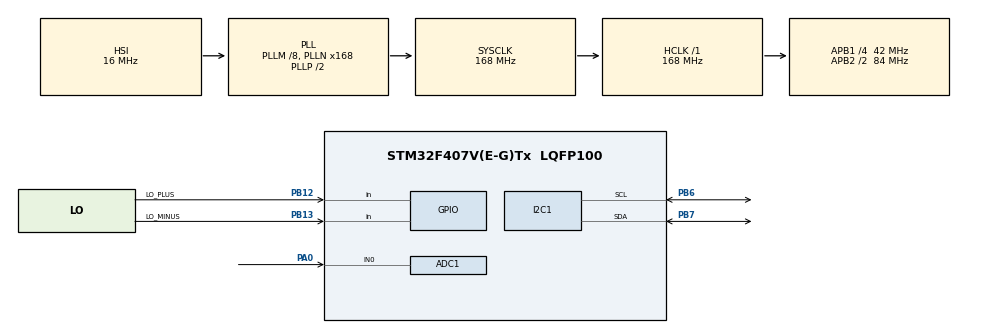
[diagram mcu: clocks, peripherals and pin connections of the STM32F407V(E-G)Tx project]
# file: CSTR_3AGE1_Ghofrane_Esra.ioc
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ADC1.Channel-0\#ChannelRegularConversion=ADC_CHANNEL_0
ADC1.ContinuousConvMode=ENABLE
ADC1.DMAContinuousRequests=ENABLE
ADC1.NbrOfConversionFlag=1
ADC1.Rank-0\#ChannelRegularConversion=1
ADC1.SamplingTime-0\#ChannelRegularConversion=ADC_SAMPLETIME_3CYCLES
ADC1.master=1
Dma.ADC1.0.Direction=DMA_PERIPH_TO_MEMORY
Dma.ADC1.0.FIFOMode=DMA_FIFOMODE_DISABLE
Dma.ADC1.0.Instance=DMA2_Stream0
Dma.ADC1.0.MemDataAlignment=DMA_MDATAALIGN_HALFWORD
Dma.ADC1.0.MemInc=DMA_MINC_ENABLE
Dma.ADC1.0.Mode=DMA_CIRCULAR
Dma.ADC1.0.PeriphDataAlignment=DMA_PDATAALIGN_HALFWORD
Dma.ADC1.0.PeriphInc=DMA_PINC_DISABLE
Dma.ADC1.0.Priority=DMA_PRIORITY_HIGH
Dma.Request0=ADC1
FREERTOS.Tasks01=defaultTask,24,128,StartDefaultTask,Default,NULL,Dynamic,NULL,NULL
I2C1.I2C_Mode=I2C_Standard
Mcu.Family=STM32F4
Mcu.Name=STM32F407V(E-G)Tx
Mcu.Package=LQFP100
NVIC.DMA2_Stream0_IRQn=true\:5\:0\:false\:false\:true\:true\:false\:true\:true
NVIC.PriorityGroup=NVIC_PRIORITYGROUP_4
PA0-WKUP.Signal=ADCx_IN0
PA13.Mode=Serial_Wire
PA13.Signal=SYS_JTMS-SWDIO
PA14.Mode=Serial_Wire
PA14.Signal=SYS_JTCK-SWCLK
PB12.GPIO_Label=LO_PLUS
PB12.GPIO_PuPd=GPIO_PULLUP
PB12.Signal=GPIO_Input
PB13.GPIO_Label=LO_MINUS
PB13.GPIO_PuPd=GPIO_PULLUP
PB13.Signal=GPIO_Input
PB6.Mode=I2C
PB6.Signal=I2C1_SCL
PB7.Mode=I2C
PB7.Signal=I2C1_SDA
PC14-OSC32_IN.Mode=LSE-External-Oscillator
PC14-OSC32_IN.Signal=RCC_OSC32_IN
PC15-OSC32_OUT.Mode=LSE-External-Oscillator
PC15-OSC32_OUT.Signal=RCC_OSC32_OUT
ProjectManager.HeapSize=0x200
ProjectManager.StackSize=0x400
ProjectManager.TargetToolchain=STM32CubeIDE
RCC.48MHZClocksFreq_Value=48000000
RCC.AHBFreq_Value=168000000
RCC.APB1CLKDivider=RCC_HCLK_DIV4
RCC.APB1Freq_Value=42000000
RCC.APB1TimFreq_Value=84000000
RCC.APB2CLKDivider=RCC_HCLK_DIV2
RCC.APB2Freq_Value=84000000
RCC.APB2TimFreq_Value=168000000
RCC.CortexFreq_Value=168000000
RCC.HCLKFreq_Value=168000000
RCC.HSE_VALUE=8000000
RCC.HSI_VALUE=16000000
RCC.PLLM=8
RCC.PLLN=168
RCC.PLLQ=7
RCC.SYSCLKFreq_VALUE=168000000
RCC.SYSCLKSource=RCC_SYSCLKSOURCE_PLLCLK
RCC.VCOOutputFreq_Value=336000000
SH.ADCx_IN0.0=ADC1_IN0,IN0
VP_FREERTOS_VS_CMSIS_V2.Mode=CMSIS_V2
board=STM32F407G-DISC1

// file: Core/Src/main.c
/* USER CODE BEGIN Header */
/**
  ******************************************************************************
  * @file           : main.c
  * @brief          : Main program body
  ******************************************************************************
  * @attention
  *
  * Copyright (c) 2026 STMicroelectronics.
  * All rights reserved.
  *
  * This software is licensed under terms that can be found in the LICENSE file
  * in the root directory of this software component.
  * If no LICENSE file comes with this software, it is provided AS-IS.
  *
  ******************************************************************************
  */
/* USER CODE END Header */
#include "main.h"
#include "cmsis_os.h"

/* USER CODE BEGIN Includes */
#include "ssd1306.h"
#include "ssd1306_fonts.h"
#include <math.h>
#include <stdio.h>
#include <string.h>
#include <stdlib.h>
/* USER CODE END Includes */

/* USER CODE BEGIN PD */
#define SCREEN_WIDTH 128
#define SCREEN_HEIGHT 64
#define ECG_BASELINE 38
#define WAVEFORM_TOP 14
#define WAVEFORM_BOTTOM 62
#define ADC_BUFFER_SIZE 1
#define FILTER_SIZE 5
#define SAMPLE_RATE 200
#define PEAK_THRESHOLD_BASE 200
#define ADAPTIVE_THRESHOLD_FACTOR 0.65f  // 65% of signal range
#define MIN_RR_INTERVAL 300  // 200 BPM max
#define MAX_RR_INTERVAL 2000  // 30 BPM min
#define REFRACTORY_PERIOD 200  // 200ms refractory period (prevents double counting)

// High-pass filter parameters_DC blocking at 0.5 Hz
#define HPF_ALPHA 0.995f
#define EMA_ALPHA 0.98f
#define STABILIZATION_SAMPLES 600  // 3 seconds @ 200Hz

#define HR_AVERAGE_SIZE 5
/* USER CODE END PD */

ADC_HandleTypeDef hadc1;
DMA_HandleTypeDef hdma_adc1;

I2C_HandleTypeDef hi2c1;

/* Definitions for defaultTask */
osThreadId_t defaultTaskHandle;
const osThreadAttr_t defaultTask_attributes = {
  .name = "defaultTask",
  .stack_size = 128 * 4,
  .priority = (osPriority_t) osPriorityNormal,
};
/* USER CODE BEGIN PV */

// Heart bitmap - 16x16 pixels
const unsigned char heart_icon_16x16[] = {
  0x00, 0x00, 0x1C, 0x70, 0x3E, 0xF8, 0x7F, 0xFC,
  0xFF, 0xFE, 0xFF, 0xFE, 0xFF, 0xFE, 0x7F, 0xFC,
  0x7F, 0xFC, 0x3F, 0xF8, 0x1F, 0xF0, 0x0F, 0xE0,
  0x07, 0xC0, 0x03, 0x80, 0x01, 0x00, 0x00, 0x00
};

// Small heart bitmap - 8x8 pixels (for beat indicator)
const unsigned char heart_small_8x8[] = {
  0x00, 0x66, 0xFF, 0xFF, 0xFF, 0x7E, 0x3C, 0x18
};

// Large heart for animation - 24x24 pixels
const unsigned char heart_large_24x24[] = {
  0x00, 0x00, 0x00, 0x07, 0x0E, 0x00, 0x0F, 0x9F, 0x00, 0x1F, 0xFF, 0x80,
  0x3F, 0xFF, 0xC0, 0x7F, 0xFF, 0xE0, 0xFF, 0xFF, 0xF0, 0xFF, 0xFF, 0xF0,
  0xFF, 0xFF, 0xF0, 0xFF, 0xFF, 0xF0, 0xFF, 0xFF, 0xF0, 0x7F, 0xFF, 0xE0,
  0x7F, 0xFF, 0xE0, 0x3F, 0xFF, 0xC0, 0x1F, 0xFF, 0x80, 0x0F, 0xFF, 0x00,
  0x07, 0xFE, 0x00, 0x03, 0xFC, 0x00, 0x01, 0xF8, 0x00, 0x00, 0xF0, 0x00,
  0x00, 0x60, 0x00, 0x00, 0x00, 0x00, 0x00, 0x00, 0x00, 0x00, 0x00, 0x00
};

typedef struct {
    uint16_t adc_value;
    uint32_t timestamp;
} ADC_Data_t;

typedef enum {
    HR_NORMAL,
    HR_BRADYCARDIA,
    HR_TACHYCARDIA
} HR_Status_t;

typedef struct {
    int16_t waveform[128];
    uint8_t buffer_index;
    uint32_t heart_rate;
    uint8_t lead_off;
    uint8_t signal_quality;
    uint16_t raw_adc;
    float hrv_sdnn;
    uint8_t is_stable;
} ECG_Data_t;

ECG_Data_t ecg_data = {0};
HR_Status_t AnalyzeHeartRate(uint32_t hr);

osThreadId_t ADC_TaskHandle;
osThreadId_t Process_TaskHandle;
osThreadId_t Display_TaskHandle;
osThreadId_t Monitor_TaskHandle;

osMessageQueueId_t ADC_QueueHandle;
osMutexId_t ECG_Data_MutexHandle;
osSemaphoreId_t Display_SemaphoreHandle;

uint16_t adc_dma_buffer[4];
uint16_t filter_buffer[FILTER_SIZE] = {2048, 2048, 2048, 2048, 2048};
uint8_t filter_index = 0;
uint32_t last_peak_time = 0;
uint32_t rr_intervals[10] = {0};
uint8_t rr_index = 0;
uint8_t peak_detected = 0;
uint16_t prev_filtered = 2048;
uint8_t above_threshold = 0;
uint8_t lead_off_detected = 0;

float hpf_prev_input = 2048.0f;
float hpf_prev_output = 0.0f;

float ema_baseline = 2048.0f;

volatile uint32_t stabilization_counter = STABILIZATION_SAMPLES;
volatile uint8_t system_stable = 1;

float signal_min = 4096.0f;
float signal_max = 0.0f;
uint16_t adaptive_samples = 0;
#define ADAPTIVE_WINDOW 100

uint32_t hr_history[HR_AVERAGE_SIZE] = {0};
uint8_t hr_history_index = 0;
uint8_t hr_history_count = 0;

uint32_t last_valid_peak_time = 0;
float peak_value_threshold = 0.0f;

/* USER CODE END PV */

void SystemClock_Config(void);
static void MX_GPIO_Init(void);
static void MX_DMA_Init(void);
static void MX_I2C1_Init(void);
static void MX_ADC1_Init(void);
void StartDefaultTask(void *argument);

/* USER CODE BEGIN PFP */
void ADC_Task(void *argument);
void Process_Task(void *argument);
void Display_Task(void *argument);
void Monitor_Task(void *argument);

uint16_t MedianFilter(uint16_t new_value);
float HighPassFilter(uint16_t input);
void CalculateHeartRate(float filtered_val, uint32_t timestamp);
float CalculateHRV(void);
uint8_t CheckLeadOff(void);
uint8_t AssessSignalQuality(void);
uint32_t GetAveragedHeartRate(void);
/* USER CODE END PFP */

int main(void)
{

  /* MCU Configuration--------------------------------------------------------*/

  /* Reset of all peripherals, Initializes the Flash interface and the Systick. */
  HAL_Init();

  /* Configure the system clock */
  SystemClock_Config();

  /* Initialize all configured peripherals */
  MX_GPIO_Init();
  MX_DMA_Init();
  MX_I2C1_Init();
  MX_ADC1_Init();
  /* USER CODE BEGIN 2 */
  ssd1306_Init();
  HAL_Delay(100);

  for(int beat = 0; beat < 2; beat++) {
    ssd1306_Fill(Black);

    if(beat % 2 == 0) {

      ssd1306_DrawBitmap(52, 20, heart_large_24x24, 24, 24, White);
    } else {

      ssd1306_DrawBitmap(51, 19, heart_large_24x24, 24, 24, White);
      ssd1306_DrawBitmap(52, 20, heart_large_24x24, 24, 24, White);
    }

    ssd1306_UpdateScreen();
    HAL_Delay(300);
  }

  HAL_Delay(400);

  ssd1306_Fill(Black);

  ssd1306_DrawBitmap(7, 5, heart_icon_16x16, 16, 16, White);

  ssd1306_SetCursor(32, 5);
  ssd1306_WriteString("ECG", Font_11x18, White);
  ssd1306_SetCursor(8, 24);
  ssd1306_WriteString("MONITOR", Font_11x18, White);

  for(int x = 0; x < 128; x += 2) {
    ssd1306_DrawPixel(x, 44, White);
  }

  ssd1306_SetCursor(4, 48);
  ssd1306_WriteString("Ghofrane & Esra", Font_7x10, White);

  ssd1306_UpdateScreen();
  HAL_Delay(2500);

  // Clear screen before starting signal display
  ssd1306_Fill(Black);
  ssd1306_UpdateScreen();

  for(int i = 0; i < 128; i++) {
     ecg_data.waveform[i] = ECG_BASELINE;
  }
  /* USER CODE END 2 */

  /* Init scheduler */
  osKernelInitialize();

  /* USER CODE BEGIN RTOS_MUTEX */
  ECG_Data_MutexHandle = osMutexNew(NULL);
  /* USER CODE END RTOS_MUTEX */

  /* USER CODE BEGIN RTOS_SEMAPHORES */
  Display_SemaphoreHandle = osSemaphoreNew(1, 0, NULL);
  /* USER CODE END RTOS_SEMAPHORES */

  /* USER CODE BEGIN RTOS_QUEUES */
  ADC_QueueHandle = osMessageQueueNew(100, sizeof(ADC_Data_t), NULL);
  /* USER CODE END RTOS_QUEUES */

  /* Create the thread(s) */
  /* creation of defaultTask */
  defaultTaskHandle = osThreadNew(StartDefaultTask, NULL, &defaultTask_attributes);

  /* USER CODE BEGIN RTOS_THREADS */
  const osThreadAttr_t ADC_Task_attr = {.name = "ADC_Task", .stack_size = 256 * 4, .priority = osPriorityHigh};
  const osThreadAttr_t Process_Task_attr = {.name = "Process_Task", .stack_size = 512 * 4, .priority = osPriorityAboveNormal};
  const osThreadAttr_t Display_Task_attr = {.name = "Display_Task", .stack_size = 512 * 4, .priority = osPriorityNormal};
  const osThreadAttr_t Monitor_Task_attr = {.name = "Monitor_Task", .stack_size = 256 * 4, .priority = osPriorityHigh};

  ADC_TaskHandle = osThreadNew(ADC_Task, NULL, &ADC_Task_attr);
  Process_TaskHandle = osThreadNew(Process_Task, NULL, &Process_Task_attr);
  Display_TaskHandle = osThreadNew(Display_Task, NULL, &Display_Task_attr);
  Monitor_TaskHandle = osThreadNew(Monitor_Task, NULL, &Monitor_Task_attr);
  /* USER CODE END RTOS_THREADS */

  /* Start scheduler */
  osKernelStart();

  /* We should never get here as control is now taken by the scheduler */

  /* Infinite loop */
  while (1)
  {

  }
}

void SystemClock_Config(void)
{
  RCC_OscInitTypeDef RCC_OscInitStruct = {0};
  RCC_ClkInitTypeDef RCC_ClkInitStruct = {0};

  /** Configure the main internal regulator output voltage
  */
  __HAL_RCC_PWR_CLK_ENABLE();
  __HAL_PWR_VOLTAGESCALING_CONFIG(PWR_REGULATOR_VOLTAGE_SCALE1);

  /** Initializes the RCC Oscillators according to the specified parameters
  * in the RCC_OscInitTypeDef structure.
  */
  RCC_OscInitStruct.OscillatorType = RCC_OSCILLATORTYPE_HSI;
  RCC_OscInitStruct.HSIState = RCC_HSI_ON;
  RCC_OscInitStruct.HSICalibrationValue = RCC_HSICALIBRATION_DEFAULT;
  RCC_OscInitStruct.PLL.PLLState = RCC_PLL_ON;
  RCC_OscInitStruct.PLL.PLLSource = RCC_PLLSOURCE_HSI;
  RCC_OscInitStruct.PLL.PLLM = 8;
  RCC_OscInitStruct.PLL.PLLN = 168;
  RCC_OscInitStruct.PLL.PLLP = RCC_PLLP_DIV2;
  RCC_OscInitStruct.PLL.PLLQ = 7;
  if (HAL_RCC_OscConfig(&RCC_OscInitStruct) != HAL_OK)
  {
    Error_Handler();
  }

  /** Initializes the CPU, AHB and APB buses clocks
  */
  RCC_ClkInitStruct.ClockType = RCC_CLOCKTYPE_HCLK|RCC_CLOCKTYPE_SYSCLK
                              |RCC_CLOCKTYPE_PCLK1|RCC_CLOCKTYPE_PCLK2;
  RCC_ClkInitStruct.SYSCLKSource = RCC_SYSCLKSOURCE_PLLCLK;
  RCC_ClkInitStruct.AHBCLKDivider = RCC_SYSCLK_DIV1;
  RCC_ClkInitStruct.APB1CLKDivider = RCC_HCLK_DIV4;
  RCC_ClkInitStruct.APB2CLKDivider = RCC_HCLK_DIV2;

  if (HAL_RCC_ClockConfig(&RCC_ClkInitStruct, FLASH_LATENCY_5) != HAL_OK)
  {
    Error_Handler();
  }
}

static void MX_ADC1_Init(void)
{

  ADC_ChannelConfTypeDef sConfig = {0};

  /** Configure the global features of the ADC (Clock, Resolution, Data Alignment and number of conversion)
  */
  hadc1.Instance = ADC1;
  hadc1.Init.ClockPrescaler = ADC_CLOCK_SYNC_PCLK_DIV4;
  hadc1.Init.Resolution = ADC_RESOLUTION_12B;
  hadc1.Init.ScanConvMode = DISABLE;
  hadc1.Init.ContinuousConvMode = ENABLE;
  hadc1.Init.DiscontinuousConvMode = DISABLE;
  hadc1.Init.ExternalTrigConvEdge = ADC_EXTERNALTRIGCONVEDGE_NONE;
  hadc1.Init.ExternalTrigConv = ADC_SOFTWARE_START;
  hadc1.Init.DataAlign = ADC_DATAALIGN_RIGHT;
  hadc1.Init.NbrOfConversion = 1;
  hadc1.Init.DMAContinuousRequests = ENABLE;
  hadc1.Init.EOCSelection = ADC_EOC_SINGLE_CONV;
  if (HAL_ADC_Init(&hadc1) != HAL_OK)
  {
    Error_Handler();
  }

  sConfig.Channel = ADC_CHANNEL_0;
  sConfig.Rank = 1;
  sConfig.SamplingTime = ADC_SAMPLETIME_84CYCLES;
  if (HAL_ADC_ConfigChannel(&hadc1, &sConfig) != HAL_OK)
  {
    Error_Handler();
  }

}

static void MX_I2C1_Init(void)
{

  hi2c1.Instance = I2C1;
  hi2c1.Init.ClockSpeed = 100000;
  hi2c1.Init.DutyCycle = I2C_DUTYCYCLE_2;
  hi2c1.Init.OwnAddress1 = 0;
  hi2c1.Init.AddressingMode = I2C_ADDRESSINGMODE_7BIT;
  hi2c1.Init.DualAddressMode = I2C_DUALADDRESS_DISABLE;
  hi2c1.Init.OwnAddress2 = 0;
  hi2c1.Init.GeneralCallMode = I2C_GENERALCALL_DISABLE;
  hi2c1.Init.NoStretchMode = I2C_NOSTRETCH_DISABLE;
  if (HAL_I2C_Init(&hi2c1) != HAL_OK)
  {
    Error_Handler();
  }

}

static void MX_DMA_Init(void)
{

  /* DMA controller clock enable */
  __HAL_RCC_DMA2_CLK_ENABLE();

  /* DMA interrupt init */
  /* DMA2_Stream0_IRQn interrupt configuration */
  HAL_NVIC_SetPriority(DMA2_Stream0_IRQn, 5, 0);
  HAL_NVIC_EnableIRQ(DMA2_Stream0_IRQn);

}

static void MX_GPIO_Init(void)
{
  GPIO_InitTypeDef GPIO_InitStruct = {0};

  /* GPIO Ports Clock Enable */
  __HAL_RCC_GPIOC_CLK_ENABLE();
  __HAL_RCC_GPIOA_CLK_ENABLE();
  __HAL_RCC_GPIOB_CLK_ENABLE();

  /*Configure GPIO pins : LO_PLUS_Pin LO_MINUS_Pin */
  GPIO_InitStruct.Pin = LO_PLUS_Pin|LO_MINUS_Pin;
  GPIO_InitStruct.Mode = GPIO_MODE_INPUT;
  GPIO_InitStruct.Pull = GPIO_PULLUP;
  HAL_GPIO_Init(GPIOB, &GPIO_InitStruct);

}

/* USER CODE BEGIN 4 */
void ADC_Task(void *argument)
{
  ADC_Data_t adc_data;
  HAL_ADC_Start_DMA(&hadc1, (uint32_t*)adc_dma_buffer, ADC_BUFFER_SIZE);

  for(;;)
  {
    if(!lead_off_detected) {
      adc_data.adc_value = adc_dma_buffer[0];
      adc_data.timestamp = osKernelGetTickCount();
      osMessageQueuePut(ADC_QueueHandle, &adc_data, 0, 0);
    }
    osDelay(5);  // 200 Hz sampling rate
  }
}

float HighPassFilter(uint16_t input)
{
  float input_f = (float)input;
  float output = HPF_ALPHA * (hpf_prev_output + input_f - hpf_prev_input);
  hpf_prev_input = input_f;
  hpf_prev_output = output;
  return output;
}

void Process_Task(void *argument)
{
  ADC_Data_t adc_data;
  float hpf_output;
  int16_t scaled_value;

  for(;;)
  {
    if(osMessageQueueGet(ADC_QueueHandle, &adc_data, NULL, osWaitForever) == osOK)
    {
      if(lead_off_detected) {
        osDelay(10);
        continue;
      }

      // 1: Apply median filter to remove spikes
      uint16_t median_filtered = MedianFilter(adc_data.adc_value);

      // 2: Apply high-pass filter for DC blocking
      hpf_output = HighPassFilter(median_filtered);

      // 3: Update adaptive baseline using exponential moving average
      ema_baseline = EMA_ALPHA * ema_baseline + (1.0f - EMA_ALPHA) * (float)median_filtered;

      // 4: Calculate AC signal
      float ac_signal = hpf_output;

      // 5: Scale for display
      scaled_value = ECG_BASELINE - (int16_t)(ac_signal * 15.0f / 500.0f);

      if(scaled_value < 2) scaled_value = 2;
      if(scaled_value >= SCREEN_HEIGHT - 2) scaled_value = SCREEN_HEIGHT - 3;

      // 6: Update adaptive threshold
      adaptive_samples++;
      if(adaptive_samples >= ADAPTIVE_WINDOW) {
        adaptive_samples = 0;
        signal_min = 4096.0f;
        signal_max = 0.0f;
      }

      float abs_signal = fabsf(ac_signal);
      if(abs_signal < signal_min) signal_min = abs_signal;
      if(abs_signal > signal_max) signal_max = abs_signal;

      // 7: Heart rate detection with adaptive threshold
      CalculateHeartRate(ac_signal, adc_data.timestamp);

      // 8: Update shared data structure
      if(osMutexAcquire(ECG_Data_MutexHandle, 10) == osOK)
      {
        ecg_data.waveform[ecg_data.buffer_index] = scaled_value;
        ecg_data.buffer_index = (ecg_data.buffer_index + 1) % SCREEN_WIDTH;
        ecg_data.raw_adc = adc_data.adc_value;
        ecg_data.signal_quality = AssessSignalQuality();

        // Update heart rate with averaged value
        ecg_data.heart_rate = GetAveragedHeartRate();

        if(rr_index >= 10) {
          ecg_data.hrv_sdnn = CalculateHRV();
        }

        osMutexRelease(ECG_Data_MutexHandle);
        osSemaphoreRelease(Display_SemaphoreHandle);
      }
    }
  }
}

HR_Status_t AnalyzeHeartRate(uint32_t hr) {
    if(hr < 60) return HR_BRADYCARDIA;
    if(hr > 100) return HR_TACHYCARDIA;
    return HR_NORMAL;
}

void Display_Task(void *argument)
{
  char str_buffer[32];
  uint32_t last_update = 0;

  for(;;)
  {
    if(osSemaphoreAcquire(Display_SemaphoreHandle, osWaitForever) == osOK)
    {
      uint32_t current_time = osKernelGetTickCount();
      if(current_time - last_update < 50) {
        osDelay(50 - (current_time - last_update));
      }
      last_update = osKernelGetTickCount();

      // Priority: Show lead off message immediately
      if(ecg_data.lead_off) {
        ssd1306_Fill(Black);
        ssd1306_SetCursor(10, 20);
        ssd1306_WriteString("LEADS OFF", Font_11x18, White);
        ssd1306_SetCursor(5, 45);
        ssd1306_WriteString("Check Electrodes", Font_7x10, White);
        ssd1306_UpdateScreen();
        continue;
      }

      if(osMutexAcquire(ECG_Data_MutexHandle, 10) == osOK)
      {
        ssd1306_Fill(Black);

        // Draw baseline reference
        for(int x = 0; x < SCREEN_WIDTH; x += 8) {
          ssd1306_DrawPixel(x, ECG_BASELINE, White);
        }

        // Draw waveform
        for(int i = 0; i < SCREEN_WIDTH - 1; i++) {
          int buf_idx1 = (ecg_data.buffer_index + i) % SCREEN_WIDTH;
          int buf_idx2 = (ecg_data.buffer_index + i + 1) % SCREEN_WIDTH;
          ssd1306_Line(i, ecg_data.waveform[buf_idx1], i + 1, ecg_data.waveform[buf_idx2], White);
        }

        // Display HR with status
        if(ecg_data.heart_rate > 30 && ecg_data.heart_rate < 220) {
          snprintf(str_buffer, sizeof(str_buffer), "HR:%lu", ecg_data.heart_rate);
          ssd1306_SetCursor(2, 0);
          ssd1306_WriteString(str_buffer, Font_7x10, White);

          HR_Status_t status = AnalyzeHeartRate(ecg_data.heart_rate);
          if(status == HR_BRADYCARDIA) {
            ssd1306_SetCursor(50, 0);
            ssd1306_WriteString("BRADY", Font_7x10, White);
          } else if(status == HR_TACHYCARDIA) {
            ssd1306_SetCursor(50, 0);
            ssd1306_WriteString("TACHY", Font_7x10, White);
          }

          // Heart beat indicator using small bitmap
          if(peak_detected) {
            ssd1306_DrawBitmap(116, 2, heart_small_8x8, 8, 8, White);
            peak_detected = 0;
          }
        }

        // Signal quality indicator
        if(ecg_data.signal_quality > 60) {
          ssd1306_FillCircle(SCREEN_WIDTH - 5, 5, 2, White);
        }

        osMutexRelease(ECG_Data_MutexHandle);
        ssd1306_UpdateScreen();
      }
    }
  }
}

void Monitor_Task(void *argument)
{
  uint8_t lead_off_count = 0;
  const uint8_t LEAD_OFF_THRESHOLD = 3;

  for(;;)
  {
    uint8_t lo_status = CheckLeadOff();

    if(lo_status) {
      lead_off_count++;
      if(lead_off_count >= LEAD_OFF_THRESHOLD) {
        lead_off_detected = 1;
      }
    } else {
      if(lead_off_count > 0) {
        lead_off_count--;
      }
      if(lead_off_count == 0) {
        lead_off_detected = 0;
      }
    }

    if(osMutexAcquire(ECG_Data_MutexHandle, 10) == osOK)
    {
      ecg_data.lead_off = lead_off_detected;
      osMutexRelease(ECG_Data_MutexHandle);
    }

    osDelay(20);
  }
}

uint16_t MedianFilter(uint16_t new_value)
{
    filter_buffer[filter_index] = new_value;
    filter_index = (filter_index + 1) % FILTER_SIZE;

    uint16_t sorted[FILTER_SIZE];
    memcpy(sorted, filter_buffer, sizeof(sorted));

    for(int i = 0; i < FILTER_SIZE-1; i++) {
        for(int j = 0; j < FILTER_SIZE-i-1; j++) {
            if(sorted[j] > sorted[j+1]) {
                uint16_t temp = sorted[j];
                sorted[j] = sorted[j+1];
                sorted[j+1] = temp;
            }
        }
    }

    return sorted[FILTER_SIZE/2];
}

void CalculateHeartRate(float filtered_val, uint32_t timestamp)
{

  float adaptive_threshold = PEAK_THRESHOLD_BASE;
  if(signal_max > signal_min) {
    adaptive_threshold = (signal_max - signal_min) * ADAPTIVE_THRESHOLD_FACTOR;
    if(adaptive_threshold < 150.0f) adaptive_threshold = 150.0f;
    if(adaptive_threshold > 600.0f) adaptive_threshold = 600.0f;
  }

  float abs_signal = fabsf(filtered_val);
  static float prev_abs_signal = 0.0f;
  static float prev_prev_signal = 0.0f;

  uint32_t time_since_last_peak = timestamp - last_valid_peak_time;
  uint8_t in_refractory = (time_since_last_peak < REFRACTORY_PERIOD);

  // peak: must be local maximum AND above threshold AND not in refractory
  uint8_t is_local_max = (abs_signal > prev_abs_signal) && (prev_abs_signal > prev_prev_signal);
  uint8_t is_above_threshold = (abs_signal > adaptive_threshold);

  if(is_local_max && is_above_threshold && !in_refractory && !above_threshold) {
    above_threshold = 1;

    if(last_peak_time > 0) {
      uint32_t rr_interval = timestamp - last_peak_time;

      // Validate RR interval
      if(rr_interval >= MIN_RR_INTERVAL && rr_interval <= MAX_RR_INTERVAL) {
        rr_intervals[rr_index] = rr_interval;
        rr_index = (rr_index + 1) % 10;

        // Calculate HR from this RR interval
        uint32_t calculated_hr = 60000 / rr_interval;

        // Add to history for averaging
        if(calculated_hr >= 30 && calculated_hr <= 220) {
          hr_history[hr_history_index] = calculated_hr;
          hr_history_index = (hr_history_index + 1) % HR_AVERAGE_SIZE;
          if(hr_history_count < HR_AVERAGE_SIZE) {
            hr_history_count++;
          }
          peak_detected = 1;
        }
      }
    }
    last_peak_time = timestamp;
    last_valid_peak_time = timestamp;  // Update valid peak time
  }
  // Reset when signal drops significantly
  else if(abs_signal < (adaptive_threshold * 0.3f)) {
    above_threshold = 0;
  }

  prev_prev_signal = prev_abs_signal;
  prev_abs_signal = abs_signal;
}
uint32_t GetAveragedHeartRate(void)
{
  if(hr_history_count == 0) {
    return 0;
  }

  uint32_t sum = 0;
  for(int i = 0; i < hr_history_count; i++) {
    sum += hr_history[i];
  }

  return sum / hr_history_count;
}

float CalculateHRV(void)
{
  float mean = 0;
  for(int i = 0; i < 10; i++) {
    mean += rr_intervals[i];
  }
  mean /= 10.0f;

  float variance = 0;
  for(int i = 0; i < 10; i++) {
    float diff = rr_intervals[i] - mean;
    variance += diff * diff;
  }
  variance /= 10.0f;
  return sqrtf(variance);
}

uint8_t CheckLeadOff(void)
{
  uint8_t lo_plus = HAL_GPIO_ReadPin(LO_PLUS_GPIO_Port, LO_PLUS_Pin);
  uint8_t lo_minus = HAL_GPIO_ReadPin(LO_MINUS_GPIO_Port, LO_MINUS_Pin);
  return (lo_plus == GPIO_PIN_SET || lo_minus == GPIO_PIN_SET);
}

uint8_t AssessSignalQuality(void)
{
  int32_t min_val = 4096, max_val = 0;

  for(int i = 0; i < FILTER_SIZE; i++) {
    if(filter_buffer[i] < min_val) min_val = filter_buffer[i];
    if(filter_buffer[i] > max_val) max_val = filter_buffer[i];
  }

  int32_t range = max_val - min_val;

  if(range > 200 && range < 1500) return 80;
  if(range > 100 && range < 2000) return 60;
  if(range > 50) return 40;
  return 20;
}

/* USER CODE END 4 */

void StartDefaultTask(void *argument)
{
  for(;;)
  {
    osDelay(1);
  }
}

void Error_Handler(void)
{
  __disable_irq();
  while (1)
  {
  }
}
